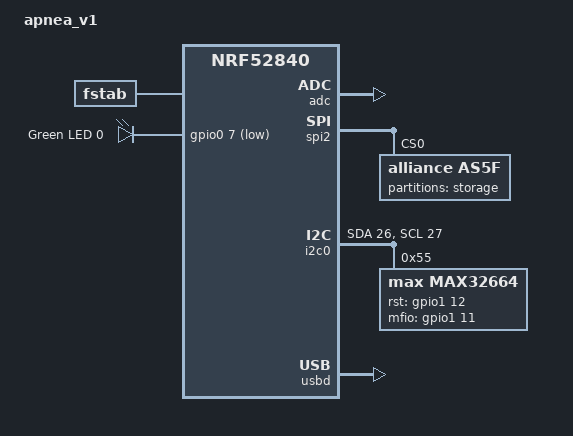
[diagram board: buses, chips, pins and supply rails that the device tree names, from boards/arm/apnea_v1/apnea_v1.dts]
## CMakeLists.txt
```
# SPDX-License-Identifier: Apache-2.0
cmake_minimum_required(VERSION 3.20.0)

# Custom boards (apnea_v1, apnea_v2) are found under boards/
list(APPEND BOARD_ROOT ${CMAKE_CURRENT_SOURCE_DIR})
# For the nRF52840 DK, pass the overlay with -DDTC_OVERLAY_FILE (see README) or uncomment:
# list(APPEND DTC_OVERLAY_FILE ${CMAKE_CURRENT_SOURCE_DIR}/boards/arm/nrf52840dk_nrf52840/nrf52840dk_nrf52840.overlay)

find_package(Zephyr REQUIRED HINTS $ENV{ZEPHYR_BASE})
project(Apnea)

# Nordic SDK app start
FILE(GLOB app_sources src/*.c)
target_sources(app PRIVATE
  ${app_sources}
)
# Nordic SDK app end

# Add subdirectories for drivers and lib files 
add_subdirectory(drivers)
add_subdirectory(app)

# Headers shared with the Zephyr Bluetooth samples
zephyr_library_include_directories(${ZEPHYR_BASE}/samples/bluetooth)
```

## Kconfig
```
menu "Apnea"
# rsource is for relative directory, source is absolute
rsource "drivers/Kconfig"
rsource "app/Kconfig"
endmenu

menu "Zephyr Kernel"
source "Kconfig.zephyr"
endmenu
```

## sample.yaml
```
sample:
  name: wearable_stethoscope_firmware
  description: Four-microphone acquisition and BLE streaming firmware for the wearable stethoscope
tests:
  apnea.firmware.build:
    build_only: true
    platform_allow: apnea_v2 apnea_v1
  apnea.firmware.build.dk:
    build_only: true
    platform_allow: nrf52840dk_nrf52840
    extra_args: DTC_OVERLAY_FILE=boards/arm/nrf52840dk_nrf52840/nrf52840dk_nrf52840.overlay
```

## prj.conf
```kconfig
# Bluetooth
CONFIG_BT=y
CONFIG_BT_DEBUG_LOG=y
CONFIG_BT_SMP=y
CONFIG_BT_PERIPHERAL=y
CONFIG_BT_DIS=y
CONFIG_BT_DIS_PNP=n
CONFIG_BT_BAS=y
CONFIG_BT_HRS=y
CONFIG_BT_DEVICE_NAME="APNEA_V1"
CONFIG_BT_DEVICE_APPEARANCE=833
CONFIG_BT_MAX_CONN=1
CONFIG_BT_MAX_PAIRED=1
CONFIG_BT_CONN_TX_MAX=255
CONFIG_BT_L2CAP_TX_BUF_COUNT=255
CONFIG_BT_L2CAP_TX_MTU=247
CONFIG_BT_BUF_ACL_TX_COUNT=255
CONFIG_BT_BUF_ACL_TX_SIZE=251
CONFIG_BT_BUF_ACL_RX_SIZE=251
CONFIG_BT_PRIVACY=y
CONFIG_BT_GAP_AUTO_UPDATE_CONN_PARAMS=y
#CONFIG_BT_LOG_SNIFFER_INFO=y
CONFIG_BT_CTLR_DATA_LENGTH_MAX=251
#CONFIG_BT_CONN_PARAM_UPDATE_TIMEOUT=300
CONFIG_BT_USER_PHY_UPDATE=y
CONFIG_BT_GATT_CLIENT=y
CONFIG_BT_USER_DATA_LEN_UPDATE=y
CONFIG_BT_GAP_PERIPHERAL_PREF_PARAMS=y
CONFIG_BT_PERIPHERAL_PREF_MIN_INT=6
CONFIG_BT_PERIPHERAL_PREF_MAX_INT=12
CONFIG_BT_PERIPHERAL_PREF_SLAVE_LATENCY=0
CONFIG_BT_PERIPHERAL_PREF_TIMEOUT=600

# Utilities
CONFIG_ASSERT=y
CONFIG_LOG=y
CONFIG_LOG_PRINTK=y
CONFIG_CONSOLE=y
CONFIG_USE_SEGGER_RTT=y
CONFIG_RTT_CONSOLE=y
CONFIG_LOG_BACKEND_RTT=y
CONFIG_LOG_BACKEND_UART=n
CONFIG_LOG_BACKEND_FORMAT_TIMESTAMP=y
CONFIG_LOG_BUFFER_SIZE=32768

# Larger system workqueue stack
CONFIG_SYSTEM_WORKQUEUE_STACK_SIZE=32768

# On chip peripheral
CONFIG_CLOCK_CONTROL_NRF_K32SRC_RC=y
CONFIG_GPIO=y
CONFIG_ADC=n
#CONFIG_BT_LL_SW_SPLIT=n
CONFIG_I2C=y

# Sensor drivers
CONFIG_SENSOR=y		# sensor API used by the MAX32664 driver
CONFIG_MAX32664=y
CONFIG_KX132=n
CONFIG_NORDIC_ADC=y

# Application libraries
CONFIG_DATA_BLE=y
CONFIG_APP_MIC=y
CONFIG_APP_PPG=y
# Enable when we want to do the packet assembly in the application
CONFIG_APP_DATA=y

# nRFx drivers
CONFIG_NRFX_SAADC=y
CONFIG_NRFX_TIMER=y
CONFIG_NRFX_TIMER1=y
CONFIG_NRFX_PPI=y
CONFIG_NRFX_GPIOTE=y
CONFIG_NRFX_TWI=y 	# Set to y to enable nrfx TWI driver
# Enable TWI instance 0 and/or instance 1.
# At least one must be enabled. See nrfx_twi.c for more info.
CONFIG_NRFX_TWI0=y 	# Set to y to enable nrfx TWI0 instance
CONFIG_NRFX_TWI1=y 	# Set to y to enable nrfx TWI1 instance
```

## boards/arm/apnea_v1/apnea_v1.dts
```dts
// Copyright (c) 2022 Nordic Semiconductor ASA
// SPDX-License-Identifier: Apache-2.0

/dts-v1/;
#include <nordic/nrf52840_qiaa.dtsi>

/ {
	model = "apnea_v1";
	compatible = "apnea-v1";

	chosen {
		zephyr,sram = &sram0;
		zephyr,flash = &flash0;
		zephyr,code-partition = &slot0_partition;
	};

	fstab {
		compatible = "zephyr,fstab";
		lfs1: lfs1 {
			compatible = "zephyr,fstab,littlefs";
			mount-point = "/lfs";
			partition = <&lfs1_part>;
			//automount;
			read-size = <512>;
			prog-size = <4096>;
			cache-size = <4096>;
			lookahead-size = <4096>;
			//block_size = <262144>;
			//block_count = <4096>;
			block-cycles = <1>;
		};
	};

	leds {
		compatible = "gpio-leds";
		led0: led_0 {
			gpios = <&gpio0 7 GPIO_ACTIVE_LOW>;
			label = "Green LED 0";
		};
	};

	/* These aliases are provided for compatibility with samples */
	aliases {
		led0 = &led0;
		spi-flash0 = &as5f;
	};

};

&adc {
	status = "okay";
};

&gpiote {
	status = "okay";
};

&gpio0 {
	status = "okay";
};

&gpio1 {
	status = "okay";
};

&flash0 {
	partitions {
		compatible = "fixed-partitions";
		#address-cells = <1>;
		#size-cells = <1>;

		boot_partition: partition@0 {
			label = "mcuboot";
			reg = <0x0 0xc000>;
		};
		slot0_partition: partition@c000 {
			label = "image-0";
			reg = <0xc000 0x72000>;
		};
		slot1_partition: partition@7e000 {
			label = "image-1";
			reg = <0x7e000 0x72000>;
		};
		scratch_partition: partition@f0000 {
			label = "image-scratch";
			reg = <0xf0000 0xa000>;
		};
		storage_partition: partition@fa000 {
			label = "storage";
			reg = <0xfa000 0x6000>;
		};
	};
};

&spi2 {
	status = "okay";

	// See alliance,as5f.yaml
	as5f: as5f18g04snd@0 {
		compatible = "alliance,as5f";
		label = "AS5F";	// Label required for older versions of Zephyr
		reg = <0>;
		jedec-id = [52];
		size-in-bytes = <0x40000000>;
		sck-frequency = <120000000>;
	};

};

&i2c0 {
	compatible = "nordic,nrf-twi";
    status = "okay";
    sda-pin = < 26 >;
    scl-pin = < 27 >;
    max32664@55{
        status = "okay";
        compatible = "max,max32664";
        reg = < 0x55 >;
        label = "MAX32664";
        rst-gpios = <&gpio1 12 GPIO_ACTIVE_HIGH>;
        mfio-gpios = <&gpio1 11 GPIO_PULL_UP>;
    };
};

/delete-node/ &storage_partition;

&as5f {
	partitions {
		compatible = "fixed-partitions";
		#address-cells = <1>;
		#size-cells = <1>;

		lfs1_part: partition@0 {
			label = "storage";
			reg = <0x00000000 0x40000000>;	// Format compatible "fixed-partitions" is [register, space]
		};
	};
};

zephyr_udc0: &usbd {
	compatible = "nordic,nrf-usbd";
	status = "okay";
};
```

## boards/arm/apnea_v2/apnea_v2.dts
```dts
// Copyright (c) 2024 Nordic Semiconductor ASA
// SPDX-License-Identifier: Apache-2.0

/dts-v1/;
#include <nordic/nrf52840_qiaa.dtsi>

/ {
	model = "apnea_v2";
	compatible = "ucsd,apnea-v2";

	chosen {
		zephyr,sram = &sram0;
		zephyr,flash = &flash0;
		zephyr,code-partition = &slot0_partition;
	};

	fstab {
		compatible = "zephyr,fstab";
		lfs1: lfs1 {
			compatible = "zephyr,fstab,littlefs";
			mount-point = "/lfs";
			partition = <&lfs1_part>;
			//automount;
			read-size = <512>;
			prog-size = <4096>;
			cache-size = <4096>;
			lookahead-size = <4096>;
			//block_size = <262144>;
			//block_count = <4096>;
			block-cycles = <1>;
		};
	};

	leds {
		compatible = "gpio-leds";
		led0: led_0 {
			gpios = <&gpio0 19 GPIO_ACTIVE_LOW>;
			label = "Green LED 0";
		};
	};

	/* These aliases are provided for compatibility with samples */
	aliases {
		led0 = &led0;
		spi-flash0 = &as5f;
	};

};

&adc {
	status = "okay";
};

&gpiote {
	status = "okay";
};

&gpio0 {
	status = "okay";
};

&gpio1 {
	status = "okay";
};

&flash0 {
	partitions {
		compatible = "fixed-partitions";
		#address-cells = <1>;
		#size-cells = <1>;

		boot_partition: partition@0 {
			label = "mcuboot";
			reg = <0x0 0xc000>;
		};
		slot0_partition: partition@c000 {
			label = "image-0";
			reg = <0xc000 0x72000>;
		};
		slot1_partition: partition@7e000 {
			label = "image-1";
			reg = <0x7e000 0x72000>;
		};
		scratch_partition: partition@f0000 {
			label = "image-scratch";
			reg = <0xf0000 0xa000>;
		};
		storage_partition: partition@fa000 {
			label = "storage";
			reg = <0xfa000 0x6000>;
		};
	};
};

&spi2 {
	status = "okay";

	// See alliance,as5f.yaml
	as5f: as5f18g04snd@0 {
		compatible = "alliance,as5f";
		label = "AS5F";	// Label required for older versions of Zephyr
		reg = <0>;
		jedec-id = [52];
		size-in-bytes = <0x40000000>;
		sck-frequency = <120000000>;
		// SPI pins are not assigned; the external flash is not used by this firmware
	};

};

&i2c0 {
	compatible = "nordic,nrf-twi";
    status = "okay";
    sda-pin = < 41 >;	// P1.09 -> 32 + 9
    scl-pin = < 12 >;	// P0.12 -> 12
	clock-frequency = <I2C_BITRATE_FAST>;
    max32664@55{
        status = "okay";
        compatible = "max,max32664";
        reg = < 0x55 >;
        label = "MAX32664";
        rst-gpios = <&gpio0 7 GPIO_ACTIVE_HIGH>;		// Used to be GPIO_ACTIVE_HIGH during testing
        mfio-gpios = <&gpio0 11 GPIO_PULL_UP>;
    };
};

/delete-node/ &storage_partition;

&as5f {
	partitions {
		compatible = "fixed-partitions";
		#address-cells = <1>;
		#size-cells = <1>;

		lfs1_part: partition@0 {
			label = "storage";
			reg = <0x00000000 0x40000000>;	// Format compatible "fixed-partitions" is [register, space]
		};
	};
};

zephyr_udc0: &usbd {
	compatible = "nordic,nrf-usbd";
	status = "okay";
};
```

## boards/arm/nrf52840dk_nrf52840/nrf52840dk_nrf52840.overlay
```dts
&adc {
    status = "okay";
};

&arduino_i2c {
    status = "okay";
    sda-pin = < 26 >;
    scl-pin = < 27 >;
    max32664@55{
        status = "okay";
        compatible = "max,max32664";
        reg = < 0x55 >;
        label = "MAX32664";
        rst-gpios = <&gpio1 12 GPIO_ACTIVE_HIGH>;
        mfio-gpios = <&gpio1 11 GPIO_PULL_UP>;
    };
};
```

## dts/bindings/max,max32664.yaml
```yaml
# Copyright (c) 2019 Nordic Semiconductor ASA
# SPDX-License-Identifier: Apache-2.0

description: |
    MAX32664 biometric sensor hub (I2C)

compatible: "max,max32664"

include: base.yaml

properties:
  rst-gpios:
    type: phandle-array
    required: true
    description: |
      Reset pin (RSTN) of the sensor hub, active low. Held low for 10 ms with
      MFIO high to start the hub in application mode.
  mfio-gpios:
    type: phandle-array
    required: true
    description: |
      Multifunction pin
```

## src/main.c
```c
/* main.c - Application main entry point */
/*
 * Copyright (c) 2016 Intel Corporation
 *
 * SPDX-License-Identifier: Apache-2.0
 */

/******************************************************************************/
/***************************** Include Files **********************************/
/******************************************************************************/
#include "../include/main.h"

/******************************************************************************/
/********************** Macros and Constants Definitions **********************/
/******************************************************************************/
LOG_MODULE_REGISTER(main);

/******************************************************************************/
/**************************** Global Variables ********************************/
/******************************************************************************/
/* BLE related */
/**
 * @brief Advertising data (flags, device name) and the current and
 *        authenticating connections.
 */
static const struct bt_data ad[] = {
	BT_DATA_BYTES(BT_DATA_FLAGS, (BT_LE_AD_GENERAL | BT_LE_AD_NO_BREDR)),
	BT_DATA(BT_DATA_NAME_COMPLETE, DEVICE_NAME, DEVICE_NAME_LEN),
};
static struct bt_conn *current_conn;
static struct bt_conn *auth_conn;
static struct bt_le_conn_param *conn_param = BT_LE_CONN_PARAM(INTERVAL_MIN, INTERVAL_MAX, CONN_LATENCY, SUPERVISION_TIMEOUT);

/******************************************************************************/
/**************************** Private Functions *******************************/
/******************************************************************************/
/* BLE protocol stack related */
// The following functions are used to manage the Bluetooth connection and its parameters, project specific handling is defined in app_data.c.
/**
 * @brief Converts a PHY value to its corresponding string representation.
 * 
 * @param phy The PHY value to be converted.
 * @return const char* A string representing the PHY type.
 */
static const char *phy2str(uint8_t phy)
{
	switch (phy)
	{
	case 0:
		return "No packets";
	case BT_GAP_LE_PHY_1M:
		return "LE 1M";
	case BT_GAP_LE_PHY_2M:
		return "LE 2M";
	case BT_GAP_LE_PHY_CODED:
		return "LE Coded";
	default:
		return "Unknown";
	}
}

/**
 * @brief Updates the connection parameters for the current Bluetooth connection.
 * 
 * @return int Returns 0 on success, or a negative error code on failure.
 */
static int update_connection_parameters(void)
{
	int err;
	err = bt_conn_le_param_update(current_conn, conn_param);
	if (err)
	{
		LOG_ERR("Cannot update connection parameter (err: %d)", err);
		return err;
	}
	LOG_INF("Connection parameters update requested");
	return 0;
}

/**
 * @brief Callback function for MTU exchange.
 * 
 * @param conn Pointer to the Bluetooth connection structure.
 * @param err Error code indicating the result of the MTU exchange. A value of 0 indicates success.
 * @param params Pointer to the GATT exchange parameters structure.
 */
static void MTU_exchange_cb(struct bt_conn *conn, uint8_t err, struct bt_gatt_exchange_params *params)
{
	uint8_t payload_length = 24;
	if (!err)
	{
		LOG_INF("MTU exchange done. ");
		payload_length = bt_gatt_get_mtu(current_conn) - 3; // 3 bytes ATT header

		// Ensure payload length is divisible by 24 for our applicaiton
		payload_length = (payload_length / 24) * 24;

		LOG_INF("Payload: %d bytes", payload_length);
	}
	else
	{
		LOG_WRN("MTU exchange failed (err %" PRIu8 ")", err);
	}
}

/**
 * @brief Request an MTU exchange with the current connection.
 * 
 * @note This function logs a warning if the MTU exchange fails.
 */
static void request_mtu_exchange(void)
{
	int err;
	static struct bt_gatt_exchange_params exchange_params;
	exchange_params.func = MTU_exchange_cb;

	err = bt_gatt_exchange_mtu(current_conn, &exchange_params);
	if (err)
	{
		LOG_WRN("MTU exchange failed (err %d)", err);
	}
	else
	{
		LOG_INF("MTU exchange pending");
	}
}

/**
 * @brief Requests an update to the LE data length parameters for the current connection.
 * 
 * @note Ensure that `current_conn` is a valid and active Bluetooth connection before calling this function.
 */
static void request_data_len_update(void)
{
	int err;
	err = bt_conn_le_data_len_update(current_conn, BT_LE_DATA_LEN_PARAM_MAX);
	if (err)
	{
		LOG_ERR("LE data length update request failed: %d", err);
	}
}

/**
 * @brief Requests an update to the PHY (Physical Layer) of the current Bluetooth connection.
 * 
 * @note Ensure that `current_conn` is a valid and active Bluetooth connection before calling this function.
 */
static void request_phy_update(void)
{
	int err;

	err = bt_conn_le_phy_update(current_conn, BT_CONN_LE_PHY_PARAM_2M);
	if (err)
	{
		LOG_ERR("Phy update request failed: %d", err);
	}
}

/**
 * @brief Callback function that is called when a Bluetooth connection is established.
 * 
 * @param conn Pointer to the Bluetooth connection structure.
 * @param err Error code indicating the status of the connection. A value of 0 indicates success,
 *            while non-zero values indicate failure.
 */
static void connected(struct bt_conn *conn, uint8_t err)
{
	char addr[BT_ADDR_LE_STR_LEN];

	if (err)
	{
		LOG_ERR("Connection failed (err %u)", err);
		return;
	}

	bt_addr_le_to_str(bt_conn_get_dst(conn), addr, sizeof(addr));
	LOG_INF("Connected %s", log_strdup(addr));
	printk("CONNECTED \n");
	current_conn = bt_conn_ref(conn);

	/*
	int32_t ret;
	for(int i=0; i<3; i++) {
		ret = update_connection_parameters();
		if(ret) {
			k_msleep(10);
			continue;	// update request failed
		}
		else {
			break;		// update request succesful
		}
	}
	*/

	AppDataBleObserverConnected(conn, err);

	update_connection_parameters();
	request_mtu_exchange();
	request_data_len_update();
	request_phy_update();
}

/**
 * @brief Callback function that handles Bluetooth disconnection events.
 * 
 * @param conn Pointer to the Bluetooth connection object that was disconnected.
 * @param reason Reason code for the disconnection.
 */
static void disconnected(struct bt_conn *conn, uint8_t reason)
{
	char addr[BT_ADDR_LE_STR_LEN];

	// To-do: make an array of observers?

	bt_addr_le_to_str(bt_conn_get_dst(conn), addr, sizeof(addr));

	LOG_INF("Disconnected: %s (reason %u)", log_strdup(addr), reason);
	printk("DISCONNECTED \n");
	if (auth_conn)
	{
		bt_conn_unref(auth_conn);
		auth_conn = NULL;
	}

	if (current_conn)
	{
		bt_conn_unref(current_conn);
		current_conn = NULL;
	}

	AppDataBleObserverDisconnected(conn, reason);

}

/* Callbacks for updated connection parameters, data length, and phy option */
/**
 * @brief Callback function that is called when the connection parameters are updated.
 * 
 * @param conn Pointer to the Bluetooth connection structure.
 * @param interval Connection interval in units of 1.25 ms.
 * @param latency Connection latency.
 * @param timeout Supervision timeout in units of 10 ms.
 */
static void le_param_updated(struct bt_conn *conn, uint16_t interval, uint16_t latency, uint16_t timeout)
{
	uint32_t interval_int = interval * 1.25;
	LOG_INF("Conn params updated: interval %d ms, latency %d, timeout: %d0 ms", interval_int, latency, timeout);

	AppDataBleObserverParamUpdated(conn, interval, latency, timeout);
}

/**
 * @brief Callback function that is called when the LE data length is updated.
 * 
 * @param conn Pointer to the Bluetooth connection structure.
 * @param info Pointer to the structure containing the updated LE data length information.
 */
static void le_data_len_updated(struct bt_conn *conn,
								struct bt_conn_le_data_len_info *info)
{
	LOG_INF("LE data len updated: TX (len: %d time: %d)"
			" RX (len: %d time: %d)\n",
			info->tx_max_len,
			info->tx_max_time, info->rx_max_len, info->rx_max_time);

	AppDataBleObserverDataLenUpdated(conn, info);
}

/**
 * @brief Callback function that is called when the LE PHY is updated.
 * 
 * @param conn Pointer to the Bluetooth connection object.
 * @param param Pointer to the structure containing the updated PHY information.
 */
static void le_phy_updated(struct bt_conn *conn,
						   struct bt_conn_le_phy_info *param)
{
	LOG_INF("LE PHY updated: TX PHY %s, RX PHY %s\n",
			phy2str(param->tx_phy), phy2str(param->rx_phy));

	AppDataBleObserverPhyUpdated(conn, param);
}

/**
 * @brief Callback function to be called when Bluetooth is ready.
 * 
 * @note This function assumes that the Bluetooth subsystem has been properly
 * initialized before calling this function.
 * 
 * @retval None
 */
static void bt_ready(void)
{
	int err;

	LOG_INF("Bluetooth initialized\n");

	err = bt_le_adv_start(BT_LE_ADV_CONN_IDENTITY, ad, ARRAY_SIZE(ad), NULL, 0);
	if (err)
	{
		LOG_ERR("Advertising failed to start (err %d)\n", err);
		return;
	}

	LOG_INF("Advertising successfully started\n");
}

/**
 * @brief Cancels the Bluetooth pairing process.
 * 
 * @param conn Pointer to the Bluetooth connection structure.
 */
static void auth_cancel(struct bt_conn *conn)
{
	char addr[BT_ADDR_LE_STR_LEN];

	bt_addr_le_to_str(bt_conn_get_dst(conn), addr, sizeof(addr));

	printk("Pairing cancelled: %s\n", addr);
}

static struct bt_conn_auth_cb conn_auth_callbacks = {
	.cancel = auth_cancel,
};

/* Set all callbacks for BLE */
static struct bt_conn_cb conn_callbacks = {
	.connected = connected,
	.disconnected = disconnected,
	.le_param_updated = le_param_updated,
	.le_phy_updated = le_phy_updated,
	.le_data_len_updated = le_data_len_updated,
	/*.le_param_req = le_param_req,*/ // Not Used
};

int main(void)
{
	int ret;

	ret = gpio_pin_configure_dt(&led, GPIO_OUTPUT_LOW);
	if (ret < 0)
	{
		return 0;
	}

	bt_conn_cb_register(&conn_callbacks);
	bt_conn_auth_cb_register(&conn_auth_callbacks);

#ifdef APP_PPG_DEBUG
	printk("***** PPG + sensor hub testing *****\n");

	uint8_t PpgBuff[22];
	ret = AppPpgInit(PpgBuff, PPGDATA_LEN_BYTES);
	while(1){
		uint8_t dataCount = 0;
		AppPpgTimed((void *) (PpgBuff + 4), &dataCount);
		ShowResultPpg((ppg_data_t *) (PpgBuff + 4));
		k_sleep(K_SECONDS(1));
	}
	return 0;
#endif // APP_PPG_DEBUG

#ifdef APP_DATA_DEBUG

/*
	ret = AppMicInit(&AppMicCfg);
	if (ret)
	{
		LOG_ERR("Application mic init failed ((err %d)\n", ret);
	}
*/

	ret = AppDataInit();

	ret = bt_enable(NULL);
	if (ret)
	{
		LOG_ERR("Bluetooth init failed (err %d)\n", ret);
		return FAILURE;
	}

	bt_ready();
	printk("Advertising started\n");

	while (1)
	{
		#ifdef APP_GPIO_DEBUG
		gpio_pin_toggle_dt(&led);
		#endif // APP_GPIO_DEBUG
		__WFI();
		//		update_connection_parameters();
		// printk("Hello World!\n");
		k_msleep(1000);
	}
	return SUCCESS;
#endif // APP_DATA_DEBUG
}
```

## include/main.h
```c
#ifndef MAIN_H
#define MAIN_H

/******************************************************************************/
/***************************** Include Files **********************************/
/******************************************************************************/
// Zephyr Libraries
#include <zephyr.h>
#include <zephyr/types.h>
#include <device.h>
#include <devicetree.h>
#include <drivers/gpio.h>
#include <drivers/sensor.h>

// Standard Libraries
#include <stdbool.h>
#include <stdint.h>
#include <stddef.h>
#include <string.h> // for memcpy
#include <errno.h> // We defined a user error.h file

#include <logging/log.h>
#include <sys/printk.h>
#include <sys/byteorder.h>

// Bluetooth Libraries
#include <bluetooth/bluetooth.h>
#include <bluetooth/hci.h>
#include <bluetooth/conn.h>
#include <bluetooth/uuid.h>
#include <bluetooth/gatt.h>

#include <bluetooth/services/bas.h>
#include <bluetooth/services/hrs.h>

// User Libraries
#include "error.h"
#include "app_data.h"

// /******************************************************************************/
// /********************** Macros and Constants Definitions **********************/
// /******************************************************************************/
// /* Zephyr related */
// Parameters for thread
#define STACKSIZE CONFIG_BT_NUS_THREAD_STACK_SIZE
#define PRIORITY 7

// BLE Device Name
#define DEVICE_NAME 		CONFIG_BT_DEVICE_NAME
#define DEVICE_NAME_LEN 	(sizeof(DEVICE_NAME) - 1)

// BLE Connection Parameters
#define INTERVAL_MIN 6			/* Conn interval min in 1.25 ms units: 6*1.25 = 7.5 ms */
#define INTERVAL_MAX 12			/* Conn interval max in 1.25 ms units: 12*1.25 = 15 ms */
#define CONN_LATENCY 0			/* Conn latency, i.e. number of allowable missed BLE events */
#define SUPERVISION_TIMEOUT 600 /* Conn supervision timeout in 10 ms units: 600*10 = 6 s */

#define DATA_LEN BT_GAP_DATA_LEN_MAX   /* Maximum Link Layer transmission payload size in bytes */
#define DATA_TIME BT_GAP_DATA_TIME_MAX /* Maximum Link Layer transmission payload time in us */

#define BT_LE_ADV_CONN_IDENTITY BT_LE_ADV_PARAM(BT_LE_ADV_OPT_CONNECTABLE | BT_LE_ADV_OPT_USE_IDENTITY, \
												BT_GAP_ADV_FAST_INT_MIN_2,                              \
												BT_GAP_ADV_FAST_INT_MAX_2, NULL)

/* Application specific */
// Testing macros
#define APP_GPIO_DEBUG
// #define APP_PPG_DEBUG
// #define APP_ACC_DEBUG
// #define APP_ECG_DEBUG
#define APP_DATA_DEBUG

#ifdef APP_GPIO_DEBUG
/* The devicetree node identifier for the "led0" alias. */
#define LED0_NODE DT_ALIAS(led0)
static const struct gpio_dt_spec led = GPIO_DT_SPEC_GET(LED0_NODE, gpios);
#endif // APP_GPIO_DEBUG

#ifdef APP_PPG_DEBUG
// #define APP_PPG_DEBUG_POLLING   // This is for preliminary testing, if not defined, then use the Interrupt driven app_data framework
#include "app_ppg.h"
// #include "SEGGER_RTT.h"
#endif // APP_PPG_DEBUG

// /******************************************************************************/
// /***************************** Exported Types *********************************/
// /******************************************************************************/


// /******************************************************************************/
// /*************************** Exported Functions *******************************/
// /******************************************************************************/

#endif // MAIN_H
```
